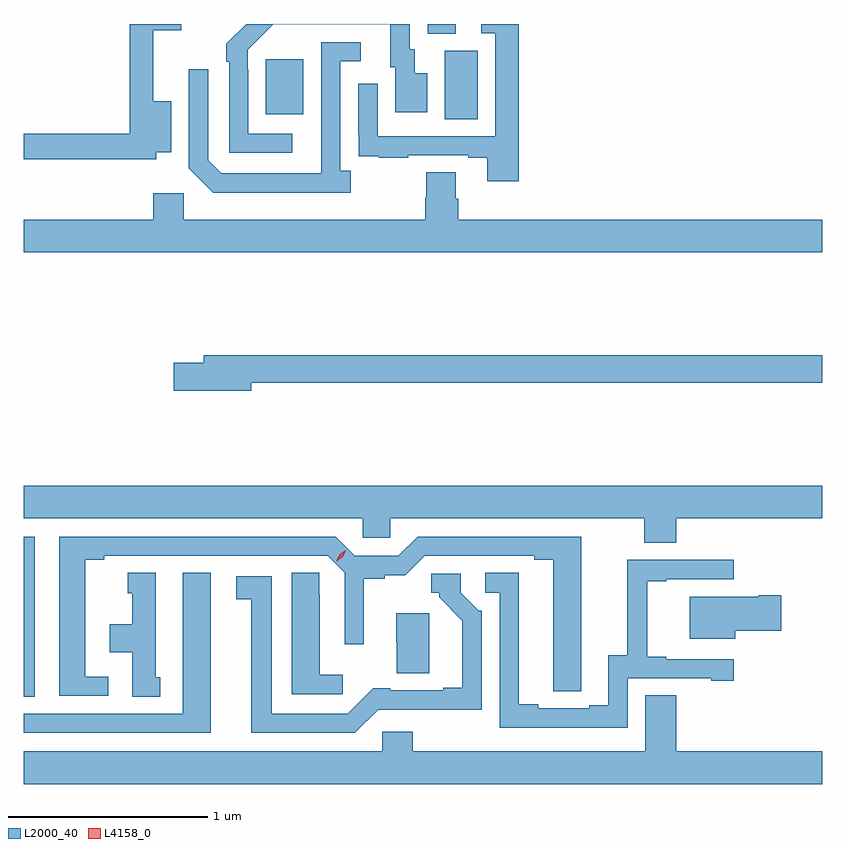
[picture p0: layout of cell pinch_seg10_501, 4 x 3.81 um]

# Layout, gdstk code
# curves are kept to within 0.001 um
import gdstk
lib = gdstk.Library(unit=1e-6, precision=1e-09)
def R(c, l, rs):  # rectangles x0, y0, x1, y1
    for r in rs: c.add(gdstk.rectangle(r[:2], r[2:], *l))
def P(c, l, *ps):  # polygons
    for p in ps: c.add(gdstk.Polygon(p, *l))
L2000_40 = (2000, 40)
L4158_0 = (4158, 0)

pinch_seg10_501 = lib.new_cell('pinch_seg10_501')
R(pinch_seg10_501, L2000_40, [(156.814,1258.129,156.868,1258.932), (158.924,1261.024,159.088,1261.368), (158.027,1261.049,158.215,1261.324), (158.837,1261.453,158.977,1261.501)])
P(pinch_seg10_501, L2000_40, [(157.476,1260.857),(157.552,1260.857),(157.552,1261.114),(157.463,1261.114),(157.463,1261.47),(157.603,1261.47),(157.603,1261.501),(157.345,1261.501),(157.345,1260.95),(156.814,1260.95),(156.814,1260.822),(157.476,1260.822)],
  [(159.293,1261.501),(159.105,1261.501),(159.105,1261.455),(159.177,1261.455),(159.177,1260.939),(158.586,1260.939),(158.586,1261.201),(158.49,1261.201),(158.49,1260.946),(158.491,1260.946),(158.491,1260.837),(158.593,1260.837),(158.593,1260.831),(158.741,1260.831),(158.741,1260.843),(159.041,1260.843),(159.041,1260.831),(159.137,1260.831),(159.137,1260.714),(159.293,1260.714)],
  [(158.158,1260.951),(157.938,1260.951),(157.938,1261.271),(157.935,1261.271),(157.935,1261.371),(158.064,1261.5),(158.651,1261.5),(158.651,1261.284),(158.675,1261.284),(158.675,1261.059),(158.836,1261.059),(158.836,1261.255),(158.773,1261.255),(158.773,1261.374),(158.748,1261.374),(158.748,1261.501),(157.927,1261.501),(157.827,1261.401),(157.827,1261.313),(157.842,1261.313),(157.842,1260.855),(158.158,1260.855)],
  [(158.452,1260.766),(158.4,1260.766),(158.4,1261.314),(158.503,1261.314),(158.503,1261.41),(158.304,1261.41),(158.303,1260.753),(157.803,1260.753),(157.737,1260.819),(157.737,1261.273),(157.641,1261.273),(157.641,1260.777),(157.762,1260.656),(158.452,1260.656)],
  [(160.814,1260.52),(158.99,1260.52),(158.99,1260.626),(158.977,1260.626),(158.977,1260.758),(158.83,1260.758),(158.83,1260.633),(158.825,1260.633),(158.825,1260.52),(157.614,1260.52),(157.614,1260.652),(157.463,1260.652),(157.463,1260.52),(156.814,1260.52),(156.814,1260.356),(160.814,1260.356)],
  [(157.954,1259.704),(160.814,1259.704),(160.814,1259.84),(157.715,1259.84),(157.715,1259.804),(157.566,1259.804),(157.566,1259.662),(157.954,1259.662)],
  [(160.082,1259.024),(160.814,1259.024),(160.814,1259.188),(156.814,1259.188),(156.814,1259.024),(158.511,1259.024),(158.511,1258.926),(158.649,1258.926),(158.649,1259.024),(159.922,1259.024),(159.922,1258.9),(160.082,1258.9)],
  [(157.237,1258.23),(157.12,1258.23),(157.12,1258.816),(157.216,1258.816),(157.216,1258.836),(158.337,1258.836),(158.421,1258.752),(158.421,1258.392),(158.518,1258.392),(158.518,1258.72),(158.622,1258.72),(158.622,1258.739),(158.726,1258.739),(158.823,1258.836),(159.371,1258.836),(159.371,1258.816),(159.467,1258.816),(159.467,1258.156),(159.606,1258.156),(159.607,1258.932),(158.787,1258.932),(158.691,1258.836),(158.473,1258.836),(158.377,1258.932),(156.992,1258.932),(156.992,1258.134),(157.237,1258.134)],
  [(159.84,1258.221),(160.259,1258.221),(160.259,1258.209),(160.372,1258.209),(160.372,1258.317),(160.033,1258.317),(160.033,1258.33),(159.938,1258.33),(159.938,1258.707),(160.033,1258.707),(160.033,1258.719),(160.372,1258.719),(160.372,1258.815),(159.838,1258.815),(159.838,1258.337),(159.743,1258.337),(159.743,1258.086),(159.647,1258.086),(159.647,1258.071),(159.391,1258.071),(159.391,1258.091),(159.295,1258.091),(159.295,1258.751),(159.126,1258.751),(159.126,1258.65),(159.198,1258.65),(159.198,1257.975),(159.84,1257.975)],
  [(158.413,1258.24),(158.296,1258.24),(158.296,1258.643),(158.295,1258.643),(158.295,1258.751),(158.156,1258.751),(158.156,1258.143),(158.413,1258.143)],
  [(157.75,1258.75),(157.61,1258.75),(157.61,1258.044),(156.814,1258.044),(156.814,1257.948),(157.75,1257.948)],
  [(157.498,1258.227),(157.474,1258.227),(157.474,1258.75),(157.334,1258.75),(157.334,1258.647),(157.358,1258.647),(157.358,1258.492),(157.244,1258.492),(157.244,1258.352),(157.358,1258.352),(157.358,1258.129),(157.498,1258.129)],
  [(158.589,1258.065),(159.108,1258.064),(159.108,1258.56),(159.093,1258.56),(159.003,1258.65),(159.003,1258.746),(158.856,1258.746),(158.856,1258.65),(158.895,1258.65),(158.895,1258.627),(159.011,1258.51),(159.011,1258.174),(158.915,1258.174),(158.915,1258.161),(158.65,1258.161),(158.65,1258.172),(158.564,1258.172),(158.436,1258.044),(158.056,1258.044),(158.056,1258.734),(157.878,1258.734),(157.878,1258.618),(157.952,1258.618),(157.952,1257.948),(158.472,1257.948)],
  [(160.378,1258.46),(160.609,1258.46),(160.609,1258.638),(160.496,1258.638),(160.496,1258.63),(160.151,1258.63),(160.151,1258.421),(160.378,1258.421)],
  [(158.845,1258.549),(158.681,1258.549),(158.681,1258.404),(158.683,1258.404),(158.683,1258.246),(158.845,1258.246)],
  [(160.814,1257.856),(160.082,1257.856),(160.082,1258.136),(159.929,1258.136),(159.929,1257.856),(158.762,1257.856),(158.762,1257.954),(158.61,1257.954),(158.61,1257.856),(156.814,1257.856),(156.814,1257.692),(160.814,1257.692)])
P(pinch_seg10_501, L4158_0, [(158.381,1258.809),(158.381,1258.81),(158.397,1258.843),(158.428,1258.864),(158.428,1258.864),(158.428,1258.864),(158.412,1258.83),(158.381,1258.809)])

lib.write_gds('pinch_seg10_501.gds')
